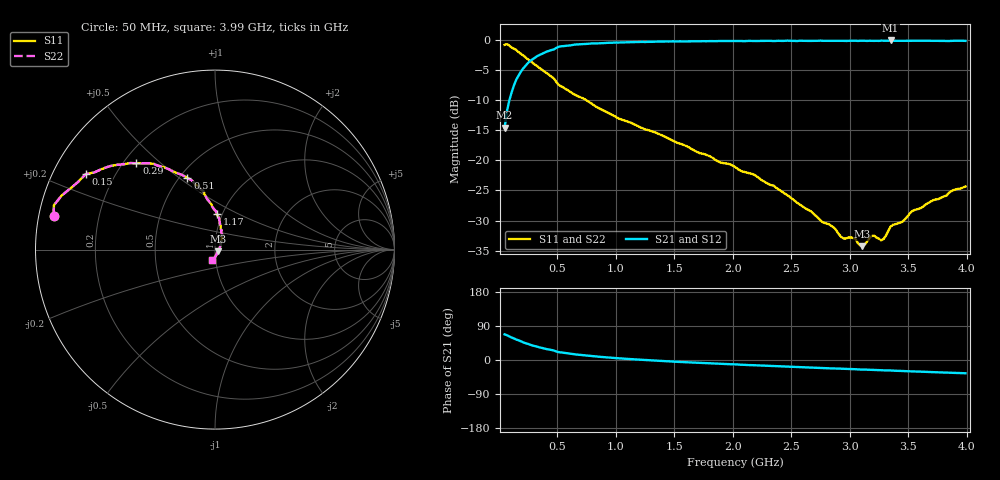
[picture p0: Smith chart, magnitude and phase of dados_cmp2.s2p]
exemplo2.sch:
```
<QucsStudio Schematic 3.3.2>
<Properties>
View=-215,-233,1567,915,1.03099,159,263
Grid=10,10,1
DataSet=*.dat
DataDisplay=*.dpl
OpenDisplay=1
showFrame=0
FrameText0=Title
FrameText1=Drawn By:
FrameText2=Date:
FrameText3=Revision:
</Properties>
<Symbol>
</Symbol>
<Components>
GND * 1 1050 240 0 0 0 0
GND * 1 720 280 0 0 0 0
GND * 1 880 280 0 0 0 0
GND * 1 1390 290 0 0 0 0
GND * 1 1040 530 0 0 0 0
GND * 1 710 570 0 0 0 0
GND * 1 870 570 0 0 0 0
GND * 1 1380 580 0 0 0 0
GND * 1 1290 560 0 0 1 2
Vac V1 1 720 250 18 -26 0 0 "1 V" 1 "1 GHz" 0 "0" 0 "0" 0 "SUBCLICK" 0
R R1 1 1300 260 15 -26 0 1 "50 Ω" 1 "26.85" 0 "0" 0 "0" 0 "26.85" 0 "european" 0 "SMD0603" 0
GND * 1 1300 290 0 0 1 2
Vac V7 1 1380 550 18 -26 0 0 "1 V" 1 "1 GHz" 0 "0" 0 "0" 0 "SUBCLICK" 0
R R2 1 870 540 15 -26 0 1 "50 Ω" 1 "26.85" 0 "0" 0 "0" 0 "26.85" 0 "european" 0 "SMD0603" 0
IProbe I1_1 1 970 190 -26 16 0 0
IProbe I2_2 1 1210 480 8 16 1 2
VProbe V1_1 1 860 250 -31 28 1 3
VProbe V2_2 1 1310 530 6 28 0 3
GND * 1 650 870 0 0 0 0
GND * 1 1440 0 0 0 0 0
GND * 1 700 0 0 0 0 0
GND * 1 1000 -90 0 0 0 0
GND * 1 1390 870 0 0 0 0
SPfile X4 1 1000 -120 -26 -93 0 0 "dados_cmp2.s2p" 1 "2" 0 "polar" 1 "linear" 0 "short" 0 "none" 0 "block" 0 "TO92" 0
SPfile X2 1 1050 190 -26 -93 0 0 "dados_cmp2.s2p" 1 "2" 0 "polar" 1 "linear" 0 "short" 0 "none" 0 "block" 0 "TO92" 0
SPfile X3 1 1040 480 -26 -93 0 0 "dados_cmp2.s2p" 1 "2" 0 "polar" 1 "linear" 0 "short" 0 "none" 0 "block" 0 "TO92" 0
Pac P8 1 700 -30 18 -26 0 0 "1" 1 "50 Ω" 1 "0 dBm" 0 "1 GHz" 0 "26.85" 0 "SUBCLICK" 0
Pac P7 1 1440 -40 18 -26 0 0 "2" 1 "50 Ω" 1 "0 dBm" 0 "1 GHz" 0 "26.85" 0 "SUBCLICK" 0
Pac P9 1 650 840 18 -26 0 0 "3" 1 "50 Ω" 1 "0 dBm" 0 "1 GHz" 0 "26.85" 0 "SUBCLICK" 0
Pac P10 1 1390 840 18 -26 0 0 "4" 1 "50 Ω" 1 "0 dBm" 0 "1 GHz" 0 "26.85" 0 "SUBCLICK" 0
GND * 1 930 810 0 0 0 0
C C1 1 930 780 17 -26 0 1 "0.05 pF" 1 "0" 0 "" 0 "neutral" 0 "SMD0603" 0
GND * 1 1110 820 0 0 0 0
L L1 1 1110 790 10 -26 0 1 "50 nH" 1 "0" 0 "" 0 "SELF-WE-PD3S" 0
VProbe V1_2 1 690 520 -31 28 1 3
IProbe I1_2 1 960 480 -26 16 0 0
IProbe I2_1 1 1220 190 8 16 1 2
VProbe V2_1 1 1410 240 -16 28 0 3
.AC AC1 1 0 -140 0 46 0 0 "lin" 1 "50 MHz" 1 "3990 MHz" 1 "1000" 1 "no" 0 "none" 0
Eqn Eqn1 1 70 100 0 8 0 0 "S11=(V1_1-I1_1*50)/(V1_1+I1_1*50)=" 1 "S12=(V1_2-I1_2*50)/(V2_2+I2_2*50)=" 1 "Zin=V1_1/I1_1=" 1 "Q=imag(Zin)/real(Zin)=" 1 "yes" 0
</Components>
<Wires>
1050 220 1050 240 "" 0 0 0 ""
1000 190 1020 190 "" 0 0 0 ""
720 190 720 220 "" 0 0 0 ""
1080 190 1190 190 "" 0 0 0 ""
1390 190 1390 230 "" 0 0 0 ""
1250 190 1300 190 "" 0 0 0 ""
1300 190 1390 190 "" 0 0 0 ""
1300 190 1300 230 "" 0 0 0 ""
1040 510 1040 530 "" 0 0 0 ""
990 480 1010 480 "" 0 0 0 ""
1070 480 1180 480 "" 0 0 0 ""
1380 480 1380 520 "" 0 0 0 ""
1390 250 1390 290 "" 0 0 0 ""
870 480 930 480 "" 0 0 0 ""
870 480 870 510 "" 0 0 0 ""
880 260 880 280 "" 0 0 0 ""
720 190 880 190 "" 0 0 0 ""
880 190 940 190 "" 0 0 0 ""
880 190 880 240 "" 0 0 0 ""
1240 480 1290 480 "" 0 0 0 ""
1290 480 1380 480 "" 0 0 0 ""
1290 480 1290 520 "" 0 0 0 ""
1290 540 1290 560 "" 0 0 0 ""
700 -120 700 -60 "" 0 0 0 ""
700 -120 970 -120 "" 0 0 0 ""
710 530 710 570 "" 0 0 0 ""
710 480 710 510 "" 0 0 0 ""
710 480 870 480 "" 0 0 0 ""
1440 -10 1440 0 "" 0 0 0 ""
1030 -120 1440 -120 "" 0 0 0 ""
1440 -120 1440 -70 "" 0 0 0 ""
650 750 650 810 "" 0 0 0 ""
650 750 930 750 "" 0 0 0 ""
1390 750 1390 810 "" 0 0 0 ""
930 750 1110 750 "" 0 0 0 ""
1110 750 1110 760 "" 0 0 0 ""
1110 750 1390 750 "" 0 0 0 ""
</Wires>
<Diagrams>
<Tab 72 717 275 343 71 #c0c0c0 1 00 1 0 1 1 1 0 1 1 1 0 1 1000 315 0 225 "" "" "">
	<"Zin1" "" #0000ff 0 3 0 0 0 0 "">
</Tab>
</Diagrams>
<Paintings>
</Paintings>
```
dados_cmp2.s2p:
! Data Taken on a HP 8720C VNA using a shunt-through fixture with TRL* de-embedding
#	mhz	s	ma	r	50
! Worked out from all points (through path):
!   198 points, 50 MHz to 3.99 GHz, reference 50 ohm
!   highest |S21| = 0.00 dB at 3.35 GHz (marker M1); lowest = -14.5 dB at 50 MHz (marker M2)
!   group delay of S21, straight-line fit = 51.9 ps
!   lowest |S11| = -34.3 dB at 3.11 GHz (marker M3), VSWR 1.04, Z = 51.8 - j0.877 ohm
!   |S11| at or under -10 dB: 752.4 MHz to end of sweep
!   |S22| runs from -34.3 to -0.6 dB; largest |S21 - S12| = 0
!   S11 on the Smith chart (normalised r, x): 50 MHz: 0.04, +0.10; 150 MHz: 0.10, +0.27; 290 MHz: 0.25, +0.42; 510 MHz: 0.55, +0.54; 1.17 GHz: 0.94, +0.39; 3.99 GHz: 0.96, -0.11
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50  0.9181 168.3  0.1877 67.7  0.1877 67.7  0.9181 168.3
90  0.905 160.5  0.3153 62.2  0.3153 62.2  0.905 160.5
150  0.8338 149.7  0.4727 53.9  0.4727 53.9  0.8338 149.7
290  0.6503 132.3  0.6969 38.2  0.6969 38.2  0.6503 132.3
510  0.429 111.0  0.8837 21.0  0.8837 21.0  0.429 111.0
1170  0.1979 86.9  0.9675 1.5  0.9675 1.5  0.1979 86.9
2030  0.08702 63.8  0.9896 -11.5  0.9896 -11.5  0.08702 63.8
3110  0.01933 -26.0  0.9948 -25.2  0.9948 -25.2  0.01933 -26.0
3290  0.02216 -61.4  0.9953 -27.3  0.9953 -27.3  0.02216 -61.4
3350  0.0281 -70.0  0.9995 -27.7  0.9995 -27.7  0.0281 -70.0
3990  0.06067 -104.6  0.9914 -35.0  0.9914 -35.0  0.06067 -104.6
